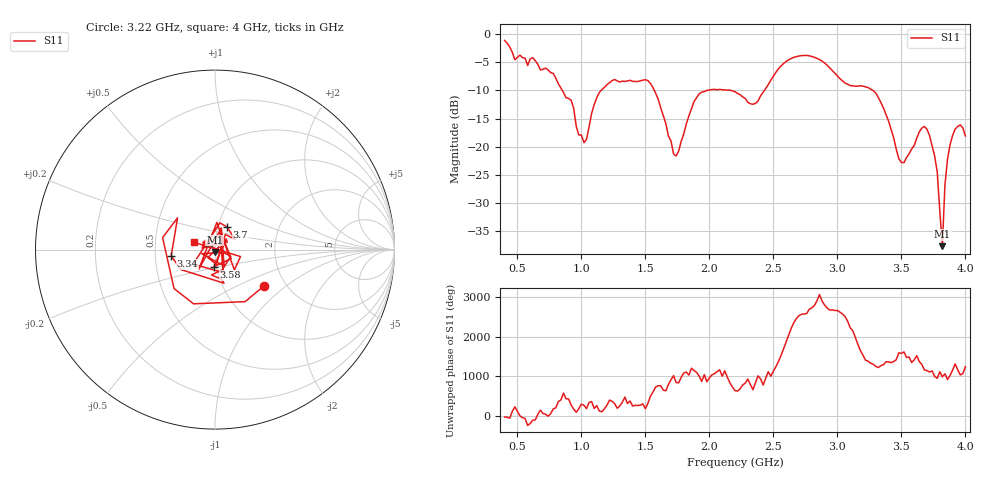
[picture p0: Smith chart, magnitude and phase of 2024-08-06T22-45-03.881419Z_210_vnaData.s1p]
!Created with skrf (http://scikit-rf.org).
# Hz S RI R 50.0
!freq ReS11 ImS11
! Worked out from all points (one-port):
!   181 points, 400 MHz to 4 GHz, reference 50 ohm
!   lowest |S11| = -37.6 dB at 3.82 GHz (marker M1), VSWR 1.03, Z = 49.9 - j1.31 ohm
!   |S11| at or under -10 dB: 850.7 MHz to 1.155 GHz (303.8 MHz wide, 30.3 % of centre); 1.57 GHz to 1.98 GHz (410.6 MHz wide, 23.1 % of centre); 3.277 GHz to end of sweep (the widest 3 of 4)
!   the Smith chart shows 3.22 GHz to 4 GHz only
!   S11 on the Smith chart (normalised r, x): 3.22 GHz: 1.56, -0.71; 3.34 GHz: 0.61, -0.04; 3.58 GHz: 0.97, -0.19; 3.7 GHz: 1.10, +0.29; 4 GHz: 0.79, +0.07
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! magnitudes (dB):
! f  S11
! 400 MHz  -1.1
! 480 MHz  -4.6
! 860 MHz  -10.4
! 920 MHz  -11.8
! 1.02 GHz  -19.3
! 1.14 GHz  -10.4
! 1.3 GHz  -8.5
! 1.54 GHz  -8.8
! 1.72 GHz  -21.3
! 1.76 GHz  -20.7
! 1.92 GHz  -10.6
! 2.2 GHz  -10.2
! 2.36 GHz  -12.3
! 2.66 GHz  -4.1
! 2.86 GHz  -4.5
! 3.1 GHz  -9.2
! 3.22 GHz  -9.4
! 3.34 GHz  -12.2
! 3.48 GHz  -22.1
! 3.56 GHz  -21.2
! 3.58 GHz  -20.4
! 3.7 GHz  -16.9
! 3.78 GHz  -24.5
! 3.82 GHz  -37.6
! 3.84 GHz  -26.8
! 3.88 GHz  -19.6
! 3.96 GHz  -16.1
! 4 GHz  -18.1
